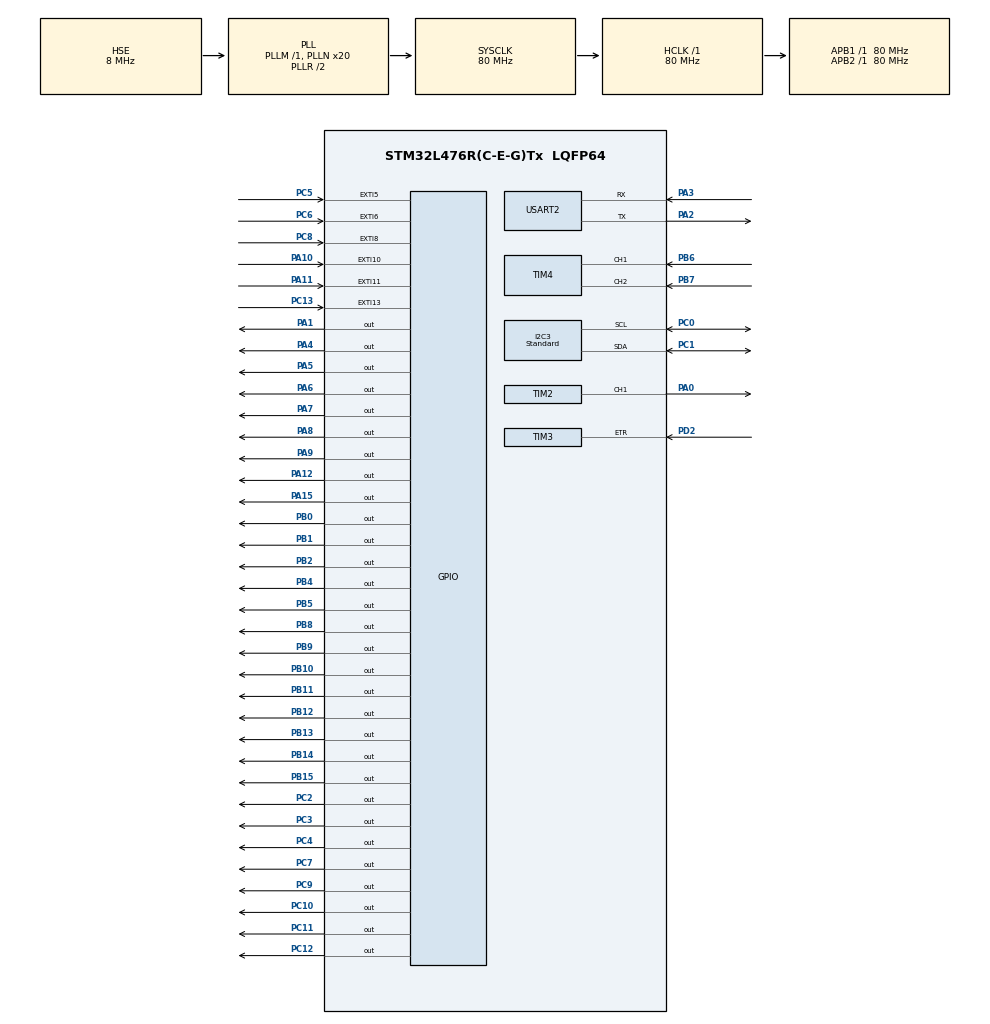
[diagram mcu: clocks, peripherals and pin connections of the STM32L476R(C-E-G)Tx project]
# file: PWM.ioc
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I2C3.I2C_Speed_Mode=I2C_Standard
I2C3.Timing=0x10909CEC
Mcu.Family=STM32L4
Mcu.Name=STM32L476R(C-E-G)Tx
Mcu.Package=LQFP64
NVIC.EXTI15_10_IRQn=true\:1\:0\:true\:false\:true\:true\:true
NVIC.EXTI9_5_IRQn=true\:1\:0\:true\:false\:true\:true\:true
NVIC.PriorityGroup=NVIC_PRIORITYGROUP_4
NVIC.TIM3_IRQn=true\:0\:0\:true\:false\:true\:true\:true
PA0.GPIO_PuPd=GPIO_PULLDOWN
PA0.GPIO_Speed=GPIO_SPEED_FREQ_HIGH
PA0.Signal=S_TIM2_CH1
PA1.Signal=GPIO_Output
PA10.GPIO_ModeDefaultEXTI=GPIO_MODE_IT_FALLING
PA10.GPIO_PuPd=GPIO_PULLUP
PA10.Signal=GPXTI10
PA11.GPIO_ModeDefaultEXTI=GPIO_MODE_IT_FALLING
PA11.GPIO_PuPd=GPIO_PULLUP
PA11.Signal=GPXTI11
PA12.Signal=GPIO_Output
PA15\ (JTDI).Signal=GPIO_Output
PA2.Mode=Asynchronous
PA2.Signal=USART2_TX
PA3.Mode=Asynchronous
PA3.Signal=USART2_RX
PA4.Signal=GPIO_Output
PA5.Signal=GPIO_Output
PA6.Signal=GPIO_Output
PA7.Signal=GPIO_Output
PA8.Signal=GPIO_Output
PA9.Signal=GPIO_Output
PB0.Signal=GPIO_Output
PB1.Signal=GPIO_Output
PB10.Signal=GPIO_Output
PB11.Signal=GPIO_Output
PB12.Signal=GPIO_Output
PB13.Signal=GPIO_Output
PB14.Signal=GPIO_Output
PB15.Signal=GPIO_Output
PB2.Signal=GPIO_Output
PB4\ (NJTRST).Signal=GPIO_Output
PB5.Signal=GPIO_Output
PB6.GPIO_PuPd=GPIO_PULLUP
PB6.Signal=S_TIM4_CH1
PB7.GPIO_PuPd=GPIO_PULLUP
PB7.Signal=S_TIM4_CH2
PB8.Signal=GPIO_Output
PB9.Signal=GPIO_Output
PC0.GPIO_PuPdOD=GPIO_PULLUP
PC0.Mode=I2C
PC0.Signal=I2C3_SCL
PC1.Mode=I2C
PC1.Signal=I2C3_SDA
PC10.Signal=GPIO_Output
PC11.Signal=GPIO_Output
PC12.Signal=GPIO_Output
PC13.GPIO_ModeDefaultEXTI=GPIO_MODE_IT_FALLING
PC13.Signal=GPXTI13
PC2.Signal=GPIO_Output
PC3.Signal=GPIO_Output
PC4.Signal=GPIO_Output
PC5.GPIO_ModeDefaultEXTI=GPIO_MODE_IT_FALLING
PC5.GPIO_PuPd=GPIO_PULLUP
PC5.Signal=GPXTI5
PC6.GPIO_ModeDefaultEXTI=GPIO_MODE_IT_FALLING
PC6.GPIO_PuPd=GPIO_PULLUP
PC6.Signal=GPXTI6
PC7.GPIO_Speed=GPIO_SPEED_FREQ_VERY_HIGH
PC7.Signal=GPIO_Output
PC8.GPIO_ModeDefaultEXTI=GPIO_MODE_IT_FALLING
PC8.GPIO_PuPd=GPIO_PULLUP
PC8.Signal=GPXTI8
PC9.Signal=GPIO_Output
PD2.Signal=S_TIM3_ETR
PH0-OSC_IN\ (PH0).Mode=HSE-External-Oscillator
PH0-OSC_IN\ (PH0).Signal=RCC_OSC_IN
PH1-OSC_OUT\ (PH1).Mode=HSE-External-Oscillator
PH1-OSC_OUT\ (PH1).Signal=RCC_OSC_OUT
ProjectManager.HeapSize=0x200
ProjectManager.StackSize=0x400
ProjectManager.TargetToolchain=STM32CubeIDE
RCC.ADCFreq_Value=32000000
RCC.AHBFreq_Value=80000000
RCC.APB1Freq_Value=80000000
RCC.APB1TimFreq_Value=80000000
RCC.APB2Freq_Value=80000000
RCC.APB2TimFreq_Value=80000000
RCC.CortexFreq_Value=80000000
RCC.HCLKFreq_Value=80000000
RCC.HSE_VALUE=8000000
RCC.HSI_VALUE=16000000
RCC.LSE_VALUE=32768
RCC.MSI_VALUE=4000000
RCC.PLLN=20
RCC.PLLSourceVirtual=RCC_PLLSOURCE_HSE
RCC.SYSCLKFreq_VALUE=80000000
RCC.SYSCLKSource=RCC_SYSCLKSOURCE_PLLCLK
RCC.USBFreq_Value=32000000
RCC.VCOOutputFreq_Value=160000000
SH.S_TIM2_CH1.0=TIM2_CH1,PWM Generation1 CH1
SH.S_TIM3_ETR.0=TIM3_ETR,ClockSourceETR_Mode2
SH.S_TIM4_CH1.0=TIM4_CH1,Encoder_Interface
SH.S_TIM4_CH2.0=TIM4_CH2,Encoder_Interface
TIM2.Channel-PWM\ Generation1\ CH1=TIM_CHANNEL_1
TIM2.CounterMode=TIM_COUNTERMODE_UP
TIM2.OCFastMode_PWM-PWM\ Generation1\ CH1=TIM_OCFAST_ENABLE
TIM2.Period=94117
TIM2.Prescaler=0
TIM2.Pulse-PWM\ Generation1\ CH1=1600
TIM2.TIM_MasterOutputTrigger=TIM_TRGO_UPDATE
TIM3.ClockFilter=0
TIM3.Period=14
TIM3.Prescaler=0
TIM3.TIM_MasterOutputTrigger=TIM_TRGO_RESET
TIM4.IC1Filter=8
TIM4.IC2Filter=8
TIM4.TIM_MasterOutputTrigger=TIM_TRGO_RESET
USART2.VirtualMode-Asynchronous=VM_ASYNC
VP_TIM2_VS_ClockSourceINT.Mode=Internal
board=custom

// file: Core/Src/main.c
/* USER CODE BEGIN Header */
/**
  ******************************************************************************
  * @file           : main.c
  * @brief          : Main program body
  ******************************************************************************
  * @attention
  *
  * <h2><center>&copy; Copyright (c) 2020 STMicroelectronics.
  * All rights reserved.</center></h2>
  *
  * This software component is licensed by ST under BSD 3-Clause license,
  * the "License"; You may not use this file except in compliance with the
  * License. You may obtain a copy of the License at:
  *                        opensource.org/licenses/BSD-3-Clause
  *
  ******************************************************************************
  */
/* USER CODE END Header */
#include "main.h"
#include "i2c.h"
#include "tim.h"
#include "usart.h"
#include "gpio.h"

/* USER CODE BEGIN Includes */

#include <stdint.h>  // for uint64_t
#include <stdbool.h>
#include <string.h>
#include <stdio.h>
#include "calibration.h"
#include "ssd1306_tests.h"
#include "ssd1306.h"
#include "generator_control.h"
#include "OLED_display_state.h"

/* USER CODE END Includes */

/* USER CODE BEGIN PV */

 char PC_GUI_message[200] = {0};
  extern int CurrentCase;
  extern CasesTypeDef CalibratedCasesLeonardo[7];
  extern int CurrentFrequency;
  extern OLEDStates_type OLEDDisplayState;
  extern bool OLEDupToDate;
  extern float FrequencyCalibrationFactor;
  extern float PulseWidthOffset;
  extern bool FrequencyCalibrationModeFlag;
  extern bool PulseOffsetAdjustmentModeFlag;

  // debug
  extern int NumberOfPulses;

/* USER CODE END PV */

void SystemClock_Config(void);

int main(void)
{
  /* USER CODE BEGIN 1 */

	int PreviousNumberOfPulses = 2;

  /* USER CODE END 1 */

  /* MCU Configuration--------------------------------------------------------*/

  /* Reset of all peripherals, Initializes the Flash interface and the Systick. */
  HAL_Init();

  /* Configure the system clock */
  SystemClock_Config();

  /* Initialize all configured peripherals */
  MX_GPIO_Init();
  MX_TIM2_Init();
  MX_TIM3_Init();
  MX_I2C3_Init();
  MX_TIM4_Init();
  MX_USART2_UART_Init();
  /* USER CODE BEGIN 2 */

  //snprintf(PC_GUI_message, 200, "System Clock = %lu\n",  SystemCoreClock);					// debug only
  //HAL_UART_Transmit(&huart2, (unsigned char*)PC_GUI_message, strlen(PC_GUI_message), 100);	// debug only

  HAL_Delay(300);

  // start screen
  ssd1306_Init();
  ssd1306_Fill(Black);
  ssd1306_SetCursor(0, 0);
  ssd1306_WriteString("       TMD", Font_7x10, White);
  ssd1306_SetCursor(0, 10);
  ssd1306_WriteString("   Technologies", Font_7x10, White);
  ssd1306_SetCursor(0, 24);
  ssd1306_WriteString("  PATTERN", Font_11x18, White);
  ssd1306_SetCursor(0, 44);
  ssd1306_WriteString(" GENERATOR", Font_11x18, White);
  ssd1306_UpdateScreen();
  HAL_Delay(2500);

  InitDataInFlashSettings();
  FrequencyCalibrationFactor = ReadFrequencyCalibrationFactorFromFlash();
  PulseWidthOffset = ReadPulseWidthOffsetFromFlash();
  InitPatternGenerator();
  OLED_Update_Display_Case(OLEDDisplayState); //current case

  // HAL_TIM_PWM_Start(&htim2, TIM_CHANNEL_1); // now enabled by button after power-up
  HAL_TIM_Base_Start_IT(&htim3);

  /* USER CODE END 2 */

  /* Infinite loop */
  /* USER CODE BEGIN WHILE */

//	SystemCoreClockUpdate(); // Updates SystemCoreClock according to register settings. This function must be called if clock settings has been changed. Be aware that a value stored to SystemCoreClock during low level initialisation (i.e. SystemInit()) might get overwritten by C library startup code and/or .bss section initialization. Thus its highly recommended to call SystemCoreClockUpdate at the beginning of the user main() routine.
//	SysTick_Config(SystemCoreClock/1000); // SystemCoreClock - global variable that contains the system frequency. Configure SysTick to generate an interrupt timing (it will produce the same interval for any clock speed). SysTick can be used for timing if it is not used for operating system.  /1000 gives SysTick every 1ms, /100 gives SysTick every 10 ms

  while (1)
  {
	HAL_GPIO_TogglePin(GPIOA, GPIO_PIN_5);
	HAL_Delay(100);

    if(FrequencyCalibrationModeFlag)
    {
    	Freq_Calibration_Mode();
    }

    if(PulseOffsetAdjustmentModeFlag)
    {
    	Pulse_Adjustment_Mode();
    }

    if(CurrentCase == Leonardo_Burst_18u_10kHz || CurrentCase == Leonardo_Burst_20u_10kHz)
    {
    	HAL_TIM_Encoder_Start(&htim4, TIM_CHANNEL_ALL);
        NumberOfPulses = htim4.Instance->CNT / 2;

    	if(NumberOfPulses < 2 || NumberOfPulses > 30000) // htim4.Instance->CNT underflows to 32767
    	{
    		NumberOfPulses =  2;
    		htim4.Instance->CNT = 4; // times 2 due to division above
    	}

    	if(NumberOfPulses > 500)
    	{
    		NumberOfPulses =  500;
    		htim4.Instance->CNT = 1000; // times 2 due to division above
    	}

    	if(NumberOfPulses != PreviousNumberOfPulses)
    	{
        	OLED_Update_Display_Case(OLEDDisplayState);
        	PreviousNumberOfPulses = NumberOfPulses;
    	}
    }

    else
    	HAL_TIM_Encoder_Stop(&htim4, TIM_CHANNEL_ALL); // ??????

    /* USER CODE END WHILE */

  }
}

void SystemClock_Config(void)
{
  RCC_OscInitTypeDef RCC_OscInitStruct = {0};
  RCC_ClkInitTypeDef RCC_ClkInitStruct = {0};
  RCC_PeriphCLKInitTypeDef PeriphClkInit = {0};

  /** Initializes the RCC Oscillators according to the specified parameters
  * in the RCC_OscInitTypeDef structure.
  */
  RCC_OscInitStruct.OscillatorType = RCC_OSCILLATORTYPE_HSE;
  RCC_OscInitStruct.HSEState = RCC_HSE_ON;
  RCC_OscInitStruct.PLL.PLLState = RCC_PLL_ON;
  RCC_OscInitStruct.PLL.PLLSource = RCC_PLLSOURCE_HSE;
  RCC_OscInitStruct.PLL.PLLM = 1;
  RCC_OscInitStruct.PLL.PLLN = 20;
  RCC_OscInitStruct.PLL.PLLP = RCC_PLLP_DIV7;
  RCC_OscInitStruct.PLL.PLLQ = RCC_PLLQ_DIV2;
  RCC_OscInitStruct.PLL.PLLR = RCC_PLLR_DIV2;
  if (HAL_RCC_OscConfig(&RCC_OscInitStruct) != HAL_OK)
  {
    Error_Handler();
  }
  /** Initializes the CPU, AHB and APB buses clocks
  */
  RCC_ClkInitStruct.ClockType = RCC_CLOCKTYPE_HCLK|RCC_CLOCKTYPE_SYSCLK
                              |RCC_CLOCKTYPE_PCLK1|RCC_CLOCKTYPE_PCLK2;
  RCC_ClkInitStruct.SYSCLKSource = RCC_SYSCLKSOURCE_PLLCLK;
  RCC_ClkInitStruct.AHBCLKDivider = RCC_SYSCLK_DIV1;
  RCC_ClkInitStruct.APB1CLKDivider = RCC_HCLK_DIV1;
  RCC_ClkInitStruct.APB2CLKDivider = RCC_HCLK_DIV1;

  if (HAL_RCC_ClockConfig(&RCC_ClkInitStruct, FLASH_LATENCY_4) != HAL_OK)
  {
    Error_Handler();
  }
  PeriphClkInit.PeriphClockSelection = RCC_PERIPHCLK_USART2|RCC_PERIPHCLK_I2C3;
  PeriphClkInit.Usart2ClockSelection = RCC_USART2CLKSOURCE_PCLK1;
  PeriphClkInit.I2c3ClockSelection = RCC_I2C3CLKSOURCE_PCLK1;
  if (HAL_RCCEx_PeriphCLKConfig(&PeriphClkInit) != HAL_OK)
  {
    Error_Handler();
  }
  /** Configure the main internal regulator output voltage
  */
  if (HAL_PWREx_ControlVoltageScaling(PWR_REGULATOR_VOLTAGE_SCALE1) != HAL_OK)
  {
    Error_Handler();
  }
}

void Error_Handler(void)
{
}

/************************ (C) COPYRIGHT STMicroelectronics *****END OF FILE****/
